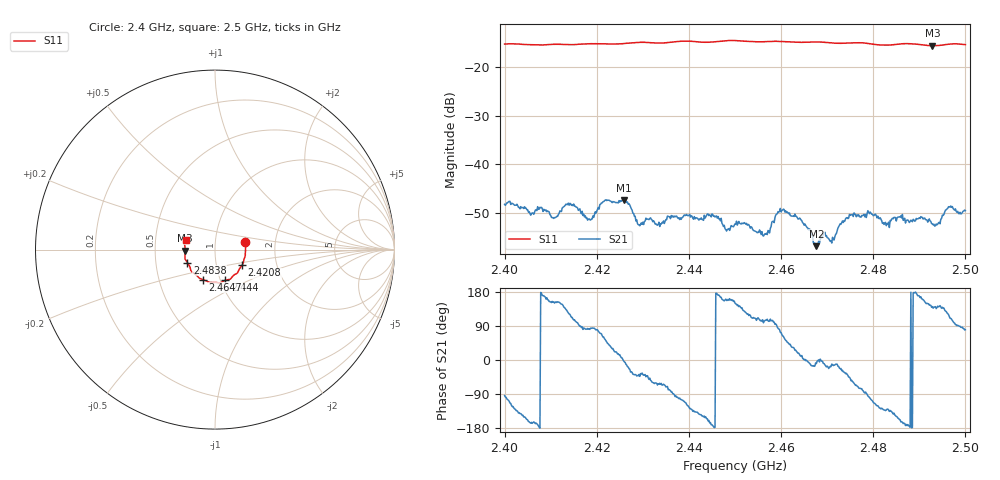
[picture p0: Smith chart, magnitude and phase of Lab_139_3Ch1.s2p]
# Hz S RI R 50
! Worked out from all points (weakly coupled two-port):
!   601 points, 2.4 GHz to 2.5 GHz, reference 50 ohm
!   highest |S21| = -47.28 dB at 2.4258 GHz (marker M1); lowest = -56.8 dB at 2.4677 GHz (marker M2)
!   lowest |S11| = -15.6 dB at 2.4928 GHz (marker M3), VSWR 1.40, Z = 35.8 - j0.369 ohm
!   |S11| at or under -10 dB: start of sweep to end of sweep
!   S12 and S22 are empty: the file has one direction only
!   S11 on the Smith chart (normalised r, x): 2.4 GHz: 1.40, +0.12; 2.4208 GHz: 1.33, -0.24; 2.444 GHz: 1.06, -0.37; 2.4647 GHz: 0.83, -0.29; 2.4838 GHz: 0.73, -0.11; 2.5 GHz: 0.72, +0.08
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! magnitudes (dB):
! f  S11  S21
! 2.4 GHz  -15.2  -48.2
! 2.4107 GHz  -15.3  -51.1
! 2.4167 GHz  -15.2  -50.1
! 2.4185 GHz  -15.2  -51.4
! 2.4208 GHz  -15.2  -48.2
! 2.4258 GHz  -15.1  -47.3
! 2.429 GHz  -14.9  -52.4
! 2.4333 GHz  -15.0  -52.3
! 2.444 GHz  -14.9  -50.2
! 2.45 GHz  -14.5  -52.2
! 2.4565 GHz  -14.7  -54.3
! 2.4602 GHz  -14.7  -49.5
! 2.4647 GHz  -14.9  -52.0
! 2.4667 GHz  -14.8  -54.5
! 2.4677 GHz  -14.8  -56.8
! 2.4712 GHz  -15.0  -55.0
! 2.4753 GHz  -15.0  -50.3
! 2.4833 GHz  -15.5  -51.9
! 2.4838 GHz  -15.4  -51.6
! 2.4928 GHz  -15.6  -52.2
! 2.4967 GHz  -15.2  -48.8
! 2.5 GHz  -15.4  -49.5
